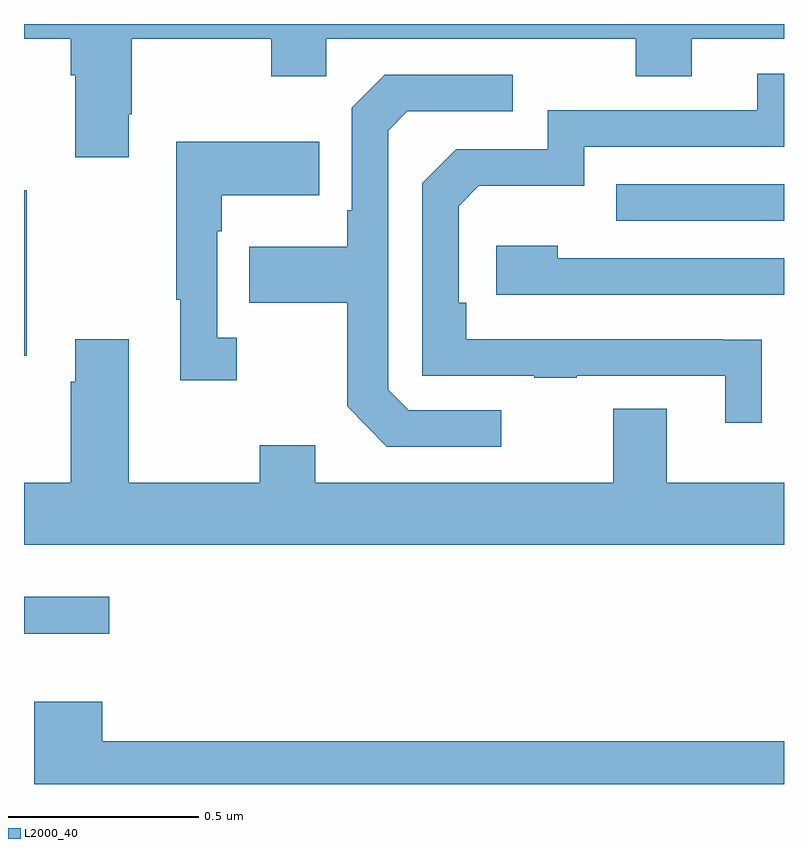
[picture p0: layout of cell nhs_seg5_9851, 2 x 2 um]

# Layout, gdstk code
import gdstk
lib = gdstk.Library(unit=1e-6, precision=1e-09)
def R(c, l, rs):  # rectangles x0, y0, x1, y1
    for r in rs: c.add(gdstk.rectangle(r[:2], r[2:], *l))
def P(c, l, *ps):  # polygons
    for p in ps: c.add(gdstk.Polygon(p, *l))
L2000_40 = (2000, 40)

nhs_seg5_9851 = lib.new_cell('nhs_seg5_9851')
R(nhs_seg5_9851, L2000_40, [(239,855.195,239.224,855.292), (239,855.926,239.007,856.361), (240.559,856.281,241,856.377)])
P(nhs_seg5_9851, L2000_40, [(239.275,856.561),(239.283,856.561),(239.283,856.76),(239.65,856.76),(239.65,856.661),(239.796,856.661),(239.796,856.76),(240.61,856.76),(240.61,856.661),(240.757,856.661),(240.757,856.76),(241,856.76),(241,856.799),(239,856.799),(239,856.76),(239.123,856.76),(239.123,856.664),(239.135,856.664),(239.135,856.449),(239.275,856.449)],
  [(240.941,855.968),(240.839,855.968),(240.839,855.969),(240.164,855.969),(240.164,856.066),(240.144,856.066),(240.144,856.32),(240.197,856.373),(240.474,856.373),(240.474,856.476),(241,856.476),(241,856.668),(240.929,856.668),(240.929,856.572),(240.378,856.572),(240.378,856.47),(240.138,856.47),(240.048,856.38),(240.048,855.873),(240.343,855.873),(240.343,855.868),(240.455,855.868),(240.455,855.873),(240.845,855.873),(240.845,855.75),(240.941,855.75)],
  [(240.256,855.783),(240.012,855.783),(239.958,855.837),(239.958,856.518),(240.009,856.569),(240.286,856.569),(240.286,856.665),(239.949,856.665),(239.862,856.578),(239.862,856.309),(239.85,856.309),(239.85,856.213),(239.593,856.213),(239.593,856.066),(239.85,856.066),(239.85,855.793),(239.955,855.687),(240.256,855.687)],
  [(239.56,855.974),(239.508,855.974),(239.508,856.253),(239.521,856.253),(239.521,856.349),(239.777,856.349),(239.777,856.489),(239.4,856.489),(239.4,856.073),(239.411,856.073),(239.411,855.861),(239.56,855.861)],
  [(241,856.182),(240.404,856.182),(240.404,856.216),(240.243,856.216),(240.243,856.086),(241,856.086)],
  [(241,855.592),(240.691,855.592),(240.691,855.787),(240.551,855.787),(240.551,855.592),(239.767,855.592),(239.767,855.691),(239.62,855.691),(239.62,855.592),(239.275,855.592),(239.275,855.97),(239.135,855.97),(239.135,855.857),(239.123,855.857),(239.123,855.592),(239,855.592),(239,855.428),(241,855.428)],
  [(241,854.912),(239.206,854.912),(239.206,855.016),(239.027,855.016),(239.027,854.799),(241,854.799)])

lib.write_gds('nhs_seg5_9851.gds')
